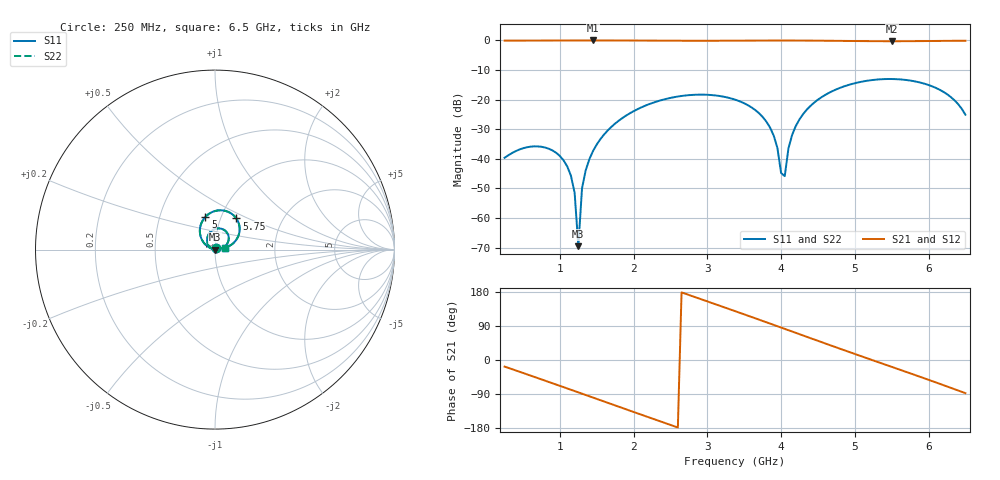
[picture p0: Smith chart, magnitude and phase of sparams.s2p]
! NobuRF kit-ro50-line12: ports 1 "p1", 2 "p2"; 3100 + 3100 steps
# GHz S RI R 50
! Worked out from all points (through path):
!   126 points, 250 MHz to 6.5 GHz, reference 50 ohm
!   highest |S21| = 0.01 dB at 1.45 GHz (marker M1); lowest = -0.2 dB at 5.5 GHz (marker M2)
!   group delay of S21, straight-line fit = 191 ps
!   lowest |S11| = -69.5 dB at 1.25 GHz (marker M3), VSWR 1.00, Z = 50 + j0.0296 ohm
!   |S11| at or under -10 dB: start of sweep to end of sweep
!   |S22| runs from -69.5 to -13.0 dB; largest |S21 - S12| = 9.9e-08
!   S11 on the Smith chart (normalised r, x): 250 MHz: 1.01, +0.02; 5 GHz: 0.84, +0.32; 5.75 GHz: 1.18, +0.43; 6.5 GHz: 1.12, +0.02
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0.25  0.00443 0.00941  0.9485 -0.2983  0.9485 -0.2983  0.00443 0.00941
0.7  0.0125 0.0103  0.6699 -0.7386  0.6699 -0.7386  0.0125 0.0103
1.05  0.00893 0.00294  0.3138 -0.9493  0.3138 -0.9493  0.00893 0.00294
1.2  0.00258 0.000606  0.1391 -0.9909  0.1391 -0.9909  0.00258 0.000606
1.25  -0.000154 0.000296  0.0795 -0.9977  0.0795 -0.9977  -0.000154 0.000296
1.3  -0.00315 0.0003  0.0194 -1.001  0.0194 -1.001  -0.00315 0.0003
1.45  -0.0133 0.00261  -0.1604 -0.9883  -0.1604 -0.9883  -0.0133 0.00261
1.8  -0.0369 0.0244  -0.5497 -0.8353  -0.5497 -0.8353  -0.0369 0.0244
2.35  -0.0322 0.0904  -0.9404 -0.3217  -0.9404 -0.3217  -0.0322 0.0904
2.85  0.0299 0.1174  -0.9555 0.2591  -0.9555 0.2591  0.0299 0.1174
3.4  0.0766 0.0607  -0.6016 0.7901  -0.6016 0.7901  0.0766 0.0607
3.8  0.0416 0.00924  -0.1664 0.9833  -0.1664 0.9833  0.0416 0.00924
3.9  0.0245 0.00331  -0.0458 0.9968  -0.0458 0.9968  0.0245 0.00331
4  0.0055 0.00171  0.076 0.9952  0.076 0.9952  0.0055 0.00171
4.05  -0.00434 0.00269  0.1366 0.9887  0.1366 0.9887  -0.00434 0.00269
4.15  -0.024 0.00831  0.2562 0.9643  0.2562 0.9643  -0.024 0.00831
4.45  -0.072 0.053  0.5829 0.8049  0.5829 0.8049  -0.072 0.053
5  -0.0541 0.1816  0.9418 0.2692  0.9418 0.2692  -0.0541 0.1816
5.5  0.0668 0.2129  0.924 -0.3015  0.924 -0.3015  0.0668 0.2129
5.75  0.1187 0.1738  0.7971 -0.5597  0.7971 -0.5597  0.1187 0.1738
6.2  0.122 0.0598  0.3968 -0.9011  0.3968 -0.9011  0.122 0.0598
6.5  0.0547 0.0103  0.0427 -0.9898  0.0427 -0.9898  0.0547 0.0103
